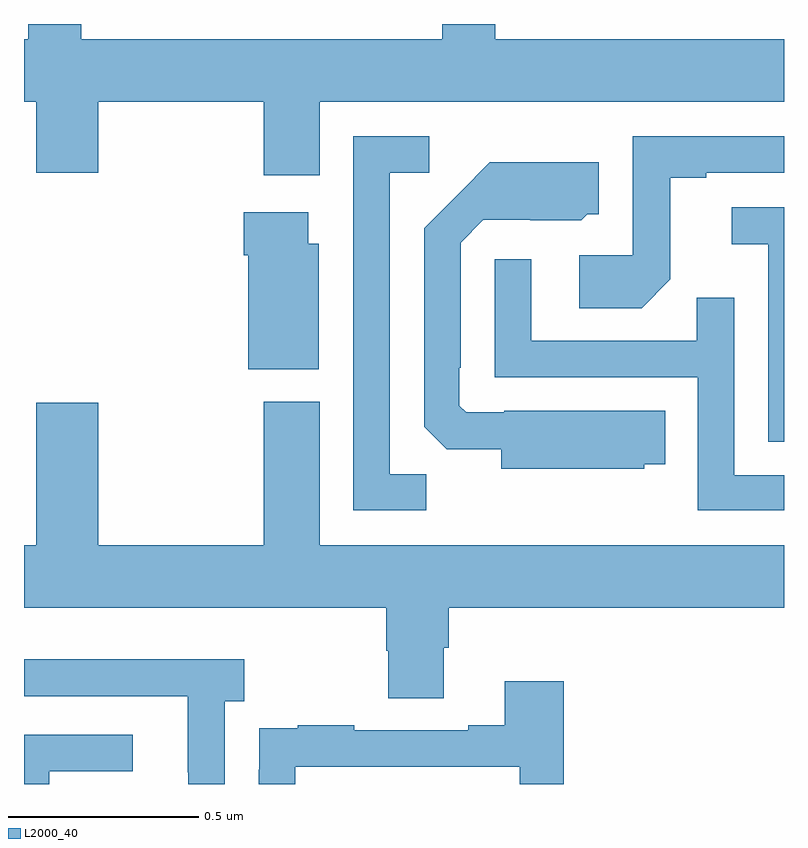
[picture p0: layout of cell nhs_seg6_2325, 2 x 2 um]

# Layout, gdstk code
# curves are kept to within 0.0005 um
import gdstk
lib = gdstk.Library(unit=1e-6, precision=1e-09)
def P(c, l, *ps):  # polygons
    for p in ps: c.add(gdstk.Polygon(p, *l))
L2000_40 = (2000, 40)

nhs_seg6_2325 = lib.new_cell('nhs_seg6_2325')
P(nhs_seg6_2325, L2000_40, [(141.011,987.5),(141.011,987.46),(141,987.46),(141,987.296),(141.032,987.296),(141.032,987.108),(141.196,987.108),(141.196,987.296),(141.631,987.296),(141.631,987.102),(141.778,987.102),(141.778,987.296),(143,987.296),(143,987.46),(142.24,987.46),(142.24,987.5),(142.101,987.5),(142.101,987.46),(141.151,987.46),(141.151,987.5)],
  [(142.059,986.315),(141.963,986.315),(141.963,987.108),(142.066,987.108),(142.066,987.204),(141.867,987.204),(141.867,986.22),(142.059,986.22)],
  [(142.701,986.828),(142.701,987.096),(142.795,987.096),(142.795,987.108),(143,987.108),(143,987.204),(142.602,987.204),(142.602,986.892),(142.461,986.892),(142.461,986.752),(142.625,986.752)],
  [(142.632,986.342),(142.688,986.342),(142.688,986.482),(142.264,986.482),(142.264,986.478),(142.164,986.478),(142.146,986.496),(142.146,986.596),(142.149,986.596),(142.149,986.925),(142.209,986.985),(142.332,986.985),(142.332,986.984),(142.466,986.984),(142.482,987),(142.513,987),(142.513,987.136),(142.225,987.136),(142.053,986.962),(142.053,986.44),(142.112,986.381),(142.256,986.381),(142.256,986.33),(142.632,986.33)],
  [(143,987.018),(142.863,987.018),(142.863,986.921),(142.959,986.921),(142.959,986.401),(143,986.401)],
  [(141.775,986.922),(141.748,986.922),(141.748,987.004),(141.578,987.004),(141.578,986.891),(141.59,986.891),(141.59,986.591),(141.775,986.591)],
  [(143,986.313),(142.869,986.313),(142.869,986.78),(142.771,986.78),(142.771,986.667),(142.335,986.667),(142.335,986.881),(142.239,986.881),(142.239,986.571),(142.773,986.571),(142.773,986.22),(143,986.22)],
  [(142.105,985.858),(142.118,985.858),(142.118,985.964),(143,985.964),(143,986.128),(141.778,986.128),(141.778,986.506),(141.631,986.506),(141.631,986.128),(141.196,986.128),(141.196,986.503),(141.032,986.503),(141.032,986.128),(141,986.128),(141,985.964),(141.953,985.964),(141.953,985.851),(141.958,985.851),(141.958,985.726),(142.105,985.726)],
  [(141.528,985.718),(141.58,985.718),(141.58,985.828),(141,985.828),(141,985.731),(141.431,985.731),(141.431,985.531),(141.432,985.531),(141.432,985.5),(141.528,985.5)],
  [(141.714,985.545),(142.305,985.545),(142.305,985.5),(142.421,985.5),(142.421,985.771),(142.265,985.771),(142.265,985.654),(142.169,985.654),(142.169,985.641),(141.869,985.641),(141.869,985.654),(141.721,985.654),(141.721,985.647),(141.619,985.647),(141.619,985.538),(141.618,985.538),(141.618,985.5),(141.714,985.5)],
  [(141.066,985.533),(141.286,985.533),(141.286,985.629),(141,985.629),(141,985.5),(141.066,985.5)])

lib.write_gds('nhs_seg6_2325.gds')
